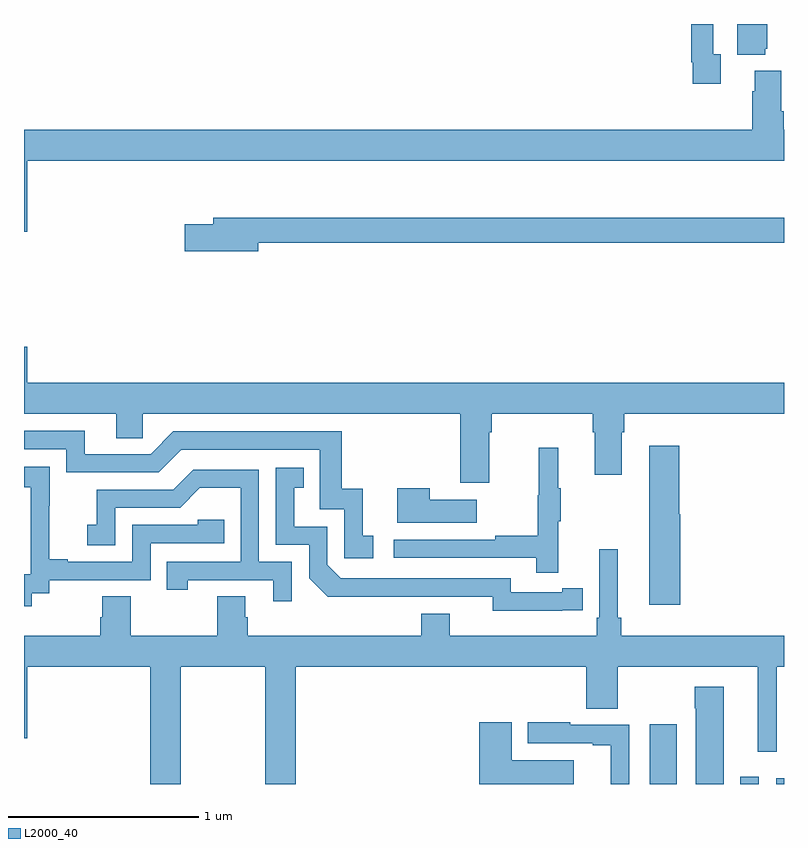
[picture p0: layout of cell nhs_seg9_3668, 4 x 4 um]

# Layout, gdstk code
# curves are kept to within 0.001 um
import gdstk
lib = gdstk.Library(unit=1e-6, precision=1e-09)
def R(c, l, rs):  # rectangles x0, y0, x1, y1
    for r in rs: c.add(gdstk.rectangle(r[:2], r[2:], *l))
def P(c, l, *ps):  # polygons
    for p in ps: c.add(gdstk.Polygon(p, *l))
L2000_40 = (2000, 40)

nhs_seg9_3668 = lib.new_cell('nhs_seg9_3668')
R(nhs_seg9_3668, L2000_40, [(324.293,1166.5,324.436,1166.815), (324.771,1166.5,324.867,1166.539), (324.959,1166.5,325,1166.53)])
P(nhs_seg9_3668, L2000_40, [(324.667,1170.342),(324.627,1170.342),(324.627,1170.5),(324.511,1170.5),(324.511,1170.298),(324.519,1170.298),(324.519,1170.186),(324.667,1170.186)],
  [(324.902,1170.369),(324.913,1170.369),(324.913,1170.5),(324.755,1170.5),(324.755,1170.338),(324.902,1170.338)],
  [(321.016,1169.78),(325,1169.78),(325,1169.944),(324.998,1169.944),(324.998,1170.04),(324.985,1170.04),(324.985,1170.253),(324.845,1170.253),(324.845,1170.146),(324.833,1170.146),(324.833,1169.944),(321,1169.944),(321,1169.406),(321.016,1169.406)],
  [(322.234,1169.35),(325,1169.35),(325,1169.479),(321.995,1169.479),(321.995,1169.445),(321.846,1169.445),(321.846,1169.303),(322.234,1169.303)],
  [(323.449,1168.352),(323.462,1168.352),(323.462,1168.448),(323.993,1168.448),(323.993,1168.352),(324.005,1168.352),(324.005,1168.128),(324.145,1168.128),(324.145,1168.352),(324.158,1168.352),(324.158,1168.448),(325,1168.448),(325,1168.612),(321.016,1168.612),(321.016,1168.801),(321,1168.801),(321,1168.448),(321.485,1168.448),(321.485,1168.321),(321.624,1168.321),(321.624,1168.448),(323.297,1168.448),(323.297,1168.086),(323.449,1168.086)],
  [(322.837,1167.807),(322.784,1167.807),(322.784,1168.054),(322.673,1168.054),(322.673,1168.356),(321.786,1168.356),(321.666,1168.236),(321.319,1168.236),(321.319,1168.359),(321,1168.359),(321,1168.263),(321.222,1168.263),(321.222,1168.14),(321.708,1168.14),(321.828,1168.26),(322.557,1168.26),(322.557,1167.945),(322.686,1167.945),(322.686,1167.687),(322.837,1167.687)],
  [(324.454,1167.921),(324.449,1167.921),(324.449,1168.279),(324.29,1168.279),(324.29,1167.444),(324.454,1167.444)],
  [(323.813,1167.883),(323.824,1167.883),(323.824,1168.057),(323.813,1168.057),(323.813,1168.27),(323.71,1168.27),(323.71,1168.02),(323.703,1168.02),(323.703,1167.806),(323.479,1167.806),(323.479,1167.786),(322.947,1167.786),(322.947,1167.69),(323.695,1167.69),(323.695,1167.612),(323.813,1167.612)],
  [(321.04,1167.505),(321.132,1167.505),(321.132,1167.573),(321.666,1167.573),(321.666,1167.768),(322.055,1167.768),(322.055,1167.891),(321.915,1167.891),(321.915,1167.864),(321.57,1167.864),(321.57,1167.669),(321.229,1167.669),(321.229,1167.682),(321.134,1167.682),(321.134,1167.965),(321.135,1167.965),(321.135,1168.171),(321,1168.171),(321,1168.061),(321.035,1168.061),(321.035,1167.833),(321.036,1167.833),(321.036,1167.603),(321,1167.603),(321,1167.435),(321.04,1167.435)],
  [(323.834,1167.414),(323.942,1167.414),(323.942,1167.53),(323.834,1167.53),(323.834,1167.51),(323.562,1167.51),(323.562,1167.582),(322.668,1167.582),(322.596,1167.654),(322.596,1167.855),(322.423,1167.855),(322.423,1168.059),(322.472,1168.059),(322.472,1168.165),(322.326,1168.165),(322.326,1167.759),(322.5,1167.759),(322.5,1167.582),(322.598,1167.485),(323.466,1167.486),(323.466,1167.413)],
  [(322.41,1167.669),(322.236,1167.669),(322.236,1168.155),(321.89,1168.155),(321.785,1168.05),(321.382,1168.05),(321.382,1167.865),(321.333,1167.865),(321.333,1167.756),(321.48,1167.756),(321.48,1167.954),(321.822,1167.954),(321.926,1168.058),(322.14,1168.058),(322.14,1167.669),(321.751,1167.669),(321.751,1167.522),(321.862,1167.522),(321.862,1167.573),(322.313,1167.573),(322.313,1167.462),(322.41,1167.462)],
  [(323.383,1167.997),(323.135,1167.997),(323.135,1168.057),(322.964,1168.057),(322.964,1167.875),(323.383,1167.875)],
  [(323.96,1166.896),(324.126,1166.896),(324.126,1167.116),(324.863,1167.116),(324.863,1166.67),(324.962,1166.67),(324.962,1167.116),(325,1167.116),(325,1167.28),(324.143,1167.28),(324.143,1167.376),(324.124,1167.376),(324.124,1167.736),(324.027,1167.736),(324.027,1167.376),(324.014,1167.376),(324.014,1167.28),(323.242,1167.28),(323.242,1167.397),(323.09,1167.397),(323.09,1167.28),(322.178,1167.28),(322.178,1167.378),(322.165,1167.378),(322.165,1167.488),(322.018,1167.488),(322.018,1167.28),(321.561,1167.28),(321.561,1167.488),(321.413,1167.488),(321.413,1167.378),(321.401,1167.378),(321.401,1167.28),(321,1167.28),(321,1166.742),(321.016,1166.742),(321.016,1167.116),(321.665,1167.116),(321.665,1166.5),(321.825,1166.5),(321.825,1167.116),(322.27,1167.116),(322.27,1166.5),(322.43,1166.5),(322.43,1167.116),(323.96,1167.116)],
  [(324.682,1167.013),(324.529,1167.013),(324.529,1166.9),(324.536,1166.9),(324.536,1166.5),(324.682,1166.5)],
  [(323.893,1166.626),(323.566,1166.626),(323.566,1166.824),(323.396,1166.824),(323.396,1166.5),(323.893,1166.5)],
  [(324.186,1166.811),(323.876,1166.811),(323.876,1166.824),(323.651,1166.824),(323.651,1166.715),(323.993,1166.715),(323.993,1166.703),(324.089,1166.703),(324.089,1166.5),(324.186,1166.5)])

lib.write_gds('nhs_seg9_3668.gds')
